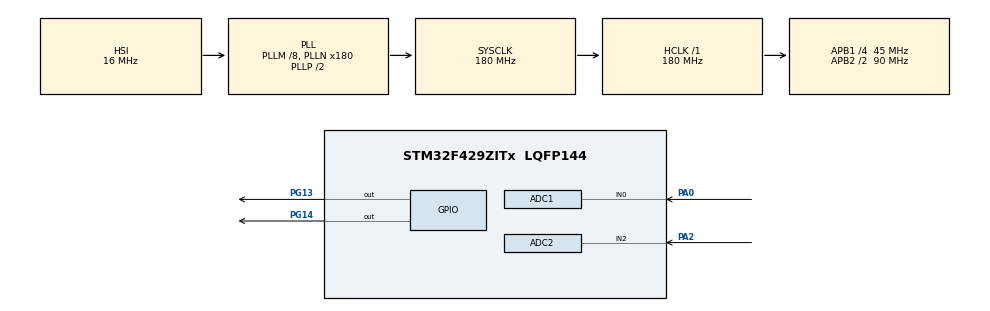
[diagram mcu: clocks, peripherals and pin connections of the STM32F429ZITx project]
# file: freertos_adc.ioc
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ADC1.Channel-0\#ChannelRegularConversion=ADC_CHANNEL_0
ADC1.NbrOfConversionFlag=1
ADC1.Rank-0\#ChannelRegularConversion=1
ADC1.Resolution=ADC_RESOLUTION_8B
ADC1.SamplingTime-0\#ChannelRegularConversion=ADC_SAMPLETIME_3CYCLES
ADC1.master=1
ADC2.Channel-0\#ChannelRegularConversion=ADC_CHANNEL_2
ADC2.NbrOfConversionFlag=1
ADC2.Rank-0\#ChannelRegularConversion=1
ADC2.Resolution=ADC_RESOLUTION_8B
ADC2.SamplingTime-0\#ChannelRegularConversion=ADC_SAMPLETIME_3CYCLES
FREERTOS.Tasks01=defaultTask,0,128,StartDefaultTask,Default,NULL,Dynamic,NULL,NULL
Mcu.Family=STM32F4
Mcu.Name=STM32F429ZITx
Mcu.Package=LQFP144
NVIC.PriorityGroup=NVIC_PRIORITYGROUP_4
PA0/WKUP.Signal=ADCx_IN0
PA2.Signal=ADCx_IN2
PG13.Signal=GPIO_Output
PG14.Signal=GPIO_Output
ProjectManager.HeapSize=0x200
ProjectManager.StackSize=0x400
ProjectManager.TargetToolchain=STM32CubeIDE
RCC.48MHZClocksFreq_Value=90000000
RCC.AHBFreq_Value=180000000
RCC.APB1CLKDivider=RCC_HCLK_DIV4
RCC.APB1Freq_Value=45000000
RCC.APB1TimFreq_Value=90000000
RCC.APB2CLKDivider=RCC_HCLK_DIV2
RCC.APB2Freq_Value=90000000
RCC.APB2TimFreq_Value=180000000
RCC.CortexFreq_Value=180000000
RCC.HCLKFreq_Value=180000000
RCC.HSE_VALUE=25000000
RCC.HSI_VALUE=16000000
RCC.LSE_VALUE=32768
RCC.PLLM=8
RCC.PLLN=180
RCC.SYSCLKFreq_VALUE=180000000
RCC.SYSCLKSource=RCC_SYSCLKSOURCE_PLLCLK
RCC.VCOOutputFreq_Value=360000000
SH.ADCx_IN0.0=ADC1_IN0,IN0
SH.ADCx_IN2.0=ADC2_IN2,IN2
VP_FREERTOS_VS_CMSIS_V1.Mode=CMSIS_V1
board=custom

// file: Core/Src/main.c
/* USER CODE BEGIN Header */
/**
  ******************************************************************************
  * @file           : main.c
  * @brief          : Main program body
  ******************************************************************************
  * @attention
  *
  * Copyright (c) 2023 STMicroelectronics.
  * All rights reserved.
  *
  * This software is licensed under terms that can be found in the LICENSE file
  * in the root directory of this software component.
  * If no LICENSE file comes with this software, it is provided AS-IS.
  *
  ******************************************************************************
  */
/* USER CODE END Header */
#include "main.h"
#include "cmsis_os.h"

/* USER CODE BEGIN Includes */
#include "stdio.h"
/* USER CODE END Includes */

ADC_HandleTypeDef hadc1;
ADC_HandleTypeDef hadc2;

osThreadId defaultTaskHandle;

void SystemClock_Config(void);
static void MX_GPIO_Init(void);
static void MX_ADC1_Init(void);
static void MX_ADC2_Init(void);
void StartDefaultTask(void const * argument);

/* USER CODE BEGIN 0 */
int _write(int file, char *ptr, int len)
{
     int DataIdx;
     for (DataIdx = 0; DataIdx < len; DataIdx++)
     {
         ITM_SendChar((*ptr++));
     }
     return len;
}
/* USER CODE END 0 */

int main(void)
{

  /* MCU Configuration--------------------------------------------------------*/

  /* Reset of all peripherals, Initializes the Flash interface and the Systick. */
  HAL_Init();

  /* Configure the system clock */
  SystemClock_Config();

  /* Initialize all configured peripherals */
  MX_GPIO_Init();
  MX_ADC1_Init();
  MX_ADC2_Init();

  /* Create the thread(s) */
  /* definition and creation of defaultTask */
  osThreadDef(defaultTask, StartDefaultTask, osPriorityNormal, 0, 128);
  defaultTaskHandle = osThreadCreate(osThread(defaultTask), NULL);

  /* Start scheduler */
  osKernelStart();
  /* We should never get here as control is now taken by the scheduler */
  /* Infinite loop */
  while (1)
  {

  }
}

void SystemClock_Config(void)
{
  RCC_OscInitTypeDef RCC_OscInitStruct = {0};
  RCC_ClkInitTypeDef RCC_ClkInitStruct = {0};

  /** Configure the main internal regulator output voltage
  */
  __HAL_RCC_PWR_CLK_ENABLE();
  __HAL_PWR_VOLTAGESCALING_CONFIG(PWR_REGULATOR_VOLTAGE_SCALE1);

  /** Initializes the RCC Oscillators according to the specified parameters
  * in the RCC_OscInitTypeDef structure.
  */
  RCC_OscInitStruct.OscillatorType = RCC_OSCILLATORTYPE_HSI;
  RCC_OscInitStruct.HSIState = RCC_HSI_ON;
  RCC_OscInitStruct.HSICalibrationValue = RCC_HSICALIBRATION_DEFAULT;
  RCC_OscInitStruct.PLL.PLLState = RCC_PLL_ON;
  RCC_OscInitStruct.PLL.PLLSource = RCC_PLLSOURCE_HSI;
  RCC_OscInitStruct.PLL.PLLM = 8;
  RCC_OscInitStruct.PLL.PLLN = 180;
  RCC_OscInitStruct.PLL.PLLP = RCC_PLLP_DIV2;
  RCC_OscInitStruct.PLL.PLLQ = 4;
  if (HAL_RCC_OscConfig(&RCC_OscInitStruct) != HAL_OK)
  {
    Error_Handler();
  }

  /** Activate the Over-Drive mode
  */
  if (HAL_PWREx_EnableOverDrive() != HAL_OK)
  {
    Error_Handler();
  }

  /** Initializes the CPU, AHB and APB buses clocks
  */
  RCC_ClkInitStruct.ClockType = RCC_CLOCKTYPE_HCLK|RCC_CLOCKTYPE_SYSCLK
                              |RCC_CLOCKTYPE_PCLK1|RCC_CLOCKTYPE_PCLK2;
  RCC_ClkInitStruct.SYSCLKSource = RCC_SYSCLKSOURCE_PLLCLK;
  RCC_ClkInitStruct.AHBCLKDivider = RCC_SYSCLK_DIV1;
  RCC_ClkInitStruct.APB1CLKDivider = RCC_HCLK_DIV4;
  RCC_ClkInitStruct.APB2CLKDivider = RCC_HCLK_DIV2;

  if (HAL_RCC_ClockConfig(&RCC_ClkInitStruct, FLASH_LATENCY_5) != HAL_OK)
  {
    Error_Handler();
  }
}

static void MX_ADC1_Init(void)
{

  ADC_ChannelConfTypeDef sConfig = {0};

  /** Configure the global features of the ADC (Clock, Resolution, Data Alignment and number of conversion)
  */
  hadc1.Instance = ADC1;
  hadc1.Init.ClockPrescaler = ADC_CLOCK_SYNC_PCLK_DIV4;
  hadc1.Init.Resolution = ADC_RESOLUTION_8B;
  hadc1.Init.ScanConvMode = DISABLE;
  hadc1.Init.ContinuousConvMode = DISABLE;
  hadc1.Init.DiscontinuousConvMode = DISABLE;
  hadc1.Init.ExternalTrigConvEdge = ADC_EXTERNALTRIGCONVEDGE_NONE;
  hadc1.Init.ExternalTrigConv = ADC_SOFTWARE_START;
  hadc1.Init.DataAlign = ADC_DATAALIGN_RIGHT;
  hadc1.Init.NbrOfConversion = 1;
  hadc1.Init.DMAContinuousRequests = DISABLE;
  hadc1.Init.EOCSelection = ADC_EOC_SINGLE_CONV;
  if (HAL_ADC_Init(&hadc1) != HAL_OK)
  {
    Error_Handler();
  }

  /** Configure for the selected ADC regular channel its corresponding rank in the sequencer and its sample time.
  */
  sConfig.Channel = ADC_CHANNEL_0;
  sConfig.Rank = 1;
  sConfig.SamplingTime = ADC_SAMPLETIME_3CYCLES;
  if (HAL_ADC_ConfigChannel(&hadc1, &sConfig) != HAL_OK)
  {
    Error_Handler();
  }

}

static void MX_ADC2_Init(void)
{

  ADC_ChannelConfTypeDef sConfig = {0};

  /** Configure the global features of the ADC (Clock, Resolution, Data Alignment and number of conversion)
  */
  hadc2.Instance = ADC2;
  hadc2.Init.ClockPrescaler = ADC_CLOCK_SYNC_PCLK_DIV4;
  hadc2.Init.Resolution = ADC_RESOLUTION_8B;
  hadc2.Init.ScanConvMode = DISABLE;
  hadc2.Init.ContinuousConvMode = DISABLE;
  hadc2.Init.DiscontinuousConvMode = DISABLE;
  hadc2.Init.ExternalTrigConvEdge = ADC_EXTERNALTRIGCONVEDGE_NONE;
  hadc2.Init.ExternalTrigConv = ADC_SOFTWARE_START;
  hadc2.Init.DataAlign = ADC_DATAALIGN_RIGHT;
  hadc2.Init.NbrOfConversion = 1;
  hadc2.Init.DMAContinuousRequests = DISABLE;
  hadc2.Init.EOCSelection = ADC_EOC_SINGLE_CONV;
  if (HAL_ADC_Init(&hadc2) != HAL_OK)
  {
    Error_Handler();
  }

  /** Configure for the selected ADC regular channel its corresponding rank in the sequencer and its sample time.
  */
  sConfig.Channel = ADC_CHANNEL_2;
  sConfig.Rank = 1;
  sConfig.SamplingTime = ADC_SAMPLETIME_3CYCLES;
  if (HAL_ADC_ConfigChannel(&hadc2, &sConfig) != HAL_OK)
  {
    Error_Handler();
  }

}

static void MX_GPIO_Init(void)
{
  GPIO_InitTypeDef GPIO_InitStruct = {0};

  /* GPIO Ports Clock Enable */
  __HAL_RCC_GPIOA_CLK_ENABLE();
  __HAL_RCC_GPIOG_CLK_ENABLE();

  /*Configure GPIO pin Output Level */
  HAL_GPIO_WritePin(GPIOG, GPIO_PIN_13|GPIO_PIN_14, GPIO_PIN_RESET);

  /*Configure GPIO pins : PG13 PG14 */
  GPIO_InitStruct.Pin = GPIO_PIN_13|GPIO_PIN_14;
  GPIO_InitStruct.Mode = GPIO_MODE_OUTPUT_PP;
  GPIO_InitStruct.Pull = GPIO_NOPULL;
  GPIO_InitStruct.Speed = GPIO_SPEED_FREQ_LOW;
  HAL_GPIO_Init(GPIOG, &GPIO_InitStruct);

}

void StartDefaultTask(void const * argument)
{
  /* USER CODE BEGIN 5 */
	uint32_t val1=0, val2 = 0, mean=0, tempo, it=30000;
  /* Infinite loop */
  for(;;)
  {
	  tempo = xTaskGetTickCount();
	  for(int i=0; i<it; i++) {
		  HAL_ADC_Start(&hadc1);
		  val1 = HAL_ADC_GetValue(&hadc1);
		  HAL_ADC_Stop(&hadc1);
		  HAL_ADC_Start(&hadc2);
		  val2 = HAL_ADC_GetValue(&hadc2);
		  HAL_ADC_Stop(&hadc2);
	  }
	  mean = xTaskGetTickCount()-tempo;
	  printf("val1: %lu, val2: %lu, freq: %lu (khz)", val1, val2, it/mean);
  }
  /* USER CODE END 5 */
}

void Error_Handler(void)
{
  __disable_irq();
  while (1)
  {
  }
}
